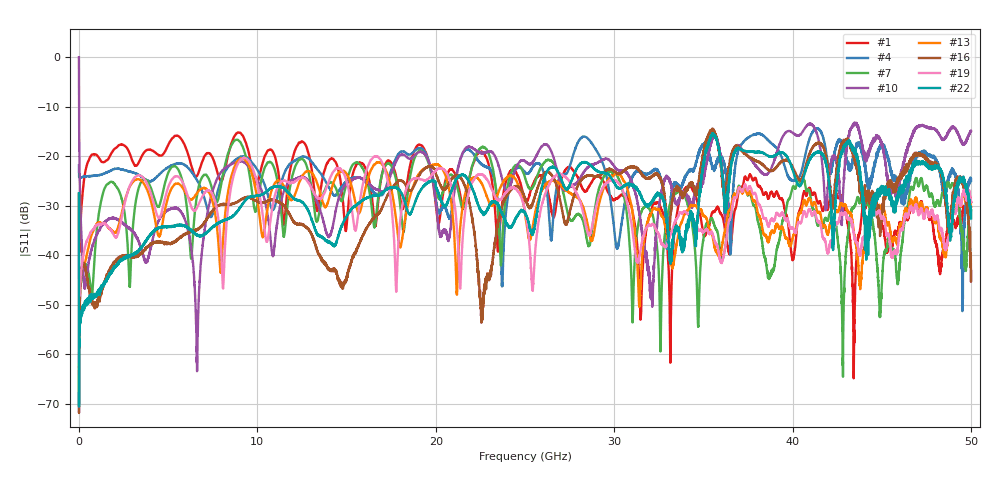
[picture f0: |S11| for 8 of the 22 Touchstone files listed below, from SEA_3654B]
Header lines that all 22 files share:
!Created with skrf (http://scikit-rf.org).
# Hz S RI R 50.0
!freq ReS11 ImS11
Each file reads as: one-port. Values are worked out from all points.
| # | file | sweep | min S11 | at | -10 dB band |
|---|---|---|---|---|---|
| 1 | 3654B_FF_AnritsuPower_MA2425A_8510C_mate1_swp2.s1p | 45 MHz to 50 GHz | -64.8 dB | 43.42 GHz | over 49.95 GHz wide |
| 2 | 3654B_FF_AnritsuPower_MA2425A_FieldFox_mate1_swp0.s1p | 300 kHz to 50 GHz | -47.5 dB | 23.73 GHz | over 50 GHz wide |
| 3 | 3654B_FF_AnritsuPower_MA2425A_FieldFox_mate1_swp1.s1p | 300 kHz to 50 GHz | -47.8 dB | 49.53 GHz | over 50 GHz wide |
| 4 | 3654B_FF_AnritsuPower_MA2425A_FieldFox_mate1_swp2.s1p | 300 kHz to 50 GHz | -51.3 dB | 49.52 GHz | over 50 GHz wide |
| 5 | 3654B_FF_AnritsuPower_MA2475A_8510C_mate1_swp0.s1p | 45 MHz to 50 GHz | -63.0 dB | 42.82 GHz | over 49.95 GHz wide |
| 6 | 3654B_FF_AnritsuPower_MA2475A_8510C_mate1_swp1.s1p | 45 MHz to 50 GHz | -61.0 dB | 42.82 GHz | over 49.95 GHz wide |
| 7 | 3654B_FF_AnritsuPower_MA2475A_8510C_mate1_swp2.s1p | 45 MHz to 50 GHz | -64.5 dB | 42.82 GHz | over 49.95 GHz wide |
| 8 | 3654B_FF_AnritsuPower_MA2475A_FieldFox_mate1_swp0.s1p | 300 kHz to 50 GHz | -61.0 dB | 6.61 GHz | over 49.99 GHz wide |
| 9 | 3654B_FF_AnritsuPower_MA2475A_FieldFox_mate1_swp1.s1p | 300 kHz to 50 GHz | -62.8 dB | 6.625 GHz | over 49.99 GHz wide |
| 10 | 3654B_FF_AnritsuPower_MA2475A_FieldFox_mate1_swp2.s1p | 300 kHz to 50 GHz | -63.4 dB | 6.62 GHz | over 49.99 GHz wide |
| 11 | 3654B_FM_3654B_FTERM1_8510C_mate1_swp0.s1p | 45 MHz to 50 GHz | -49.9 dB | 31.41 GHz | over 49.95 GHz wide |
| 12 | 3654B_FM_3654B_FTERM1_8510C_mate1_swp1.s1p | 45 MHz to 50 GHz | -49.7 dB | 31.41 GHz | over 49.95 GHz wide |
| 13 | 3654B_FM_3654B_FTERM1_8510C_mate1_swp2.s1p | 45 MHz to 50 GHz | -50.4 dB | 31.4 GHz | over 49.95 GHz wide |
| 14 | 3654B_FM_3654B_FTERM1_FieldFox_mate1_swp0.s1p | 300 kHz to 50 GHz | -63.0 dB | 5.3 MHz | over 50 GHz wide |
| 15 | 3654B_FM_3654B_FTERM1_FieldFox_mate1_swp1.s1p | 300 kHz to 50 GHz | -66.3 dB | 5.3 MHz | over 50 GHz wide |
| 16 | 3654B_FM_3654B_FTERM1_FieldFox_mate1_swp2.s1p | 300 kHz to 50 GHz | -71.8 dB | 5.3 MHz | over 50 GHz wide |
| 17 | 3654B_FM_3654B_FTERM2_8510C_mate1_swp0.s1p | 45 MHz to 50 GHz | -48.3 dB | 45 MHz | over 49.95 GHz wide |
| 18 | 3654B_FM_3654B_FTERM2_8510C_mate1_swp1.s1p | 45 MHz to 50 GHz | -48.1 dB | 45 MHz | over 49.95 GHz wide |
| 19 | 3654B_FM_3654B_FTERM2_8510C_mate1_swp2.s1p | 45 MHz to 50 GHz | -48.2 dB | 45 MHz | over 49.95 GHz wide |
| 20 | 3654B_FM_3654B_FTERM2_FieldFox_mate1_swp0.s1p | 300 kHz to 50 GHz | -61.6 dB | 5.3 MHz | over 50 GHz wide |
| 21 | 3654B_FM_3654B_FTERM2_FieldFox_mate1_swp1.s1p | 300 kHz to 50 GHz | -65.0 dB | 5.3 MHz | over 50 GHz wide |
| 22 | 3654B_FM_3654B_FTERM2_FieldFox_mate1_swp2.s1p | 300 kHz to 50 GHz | -70.6 dB | 5.3 MHz | over 50 GHz wide |
